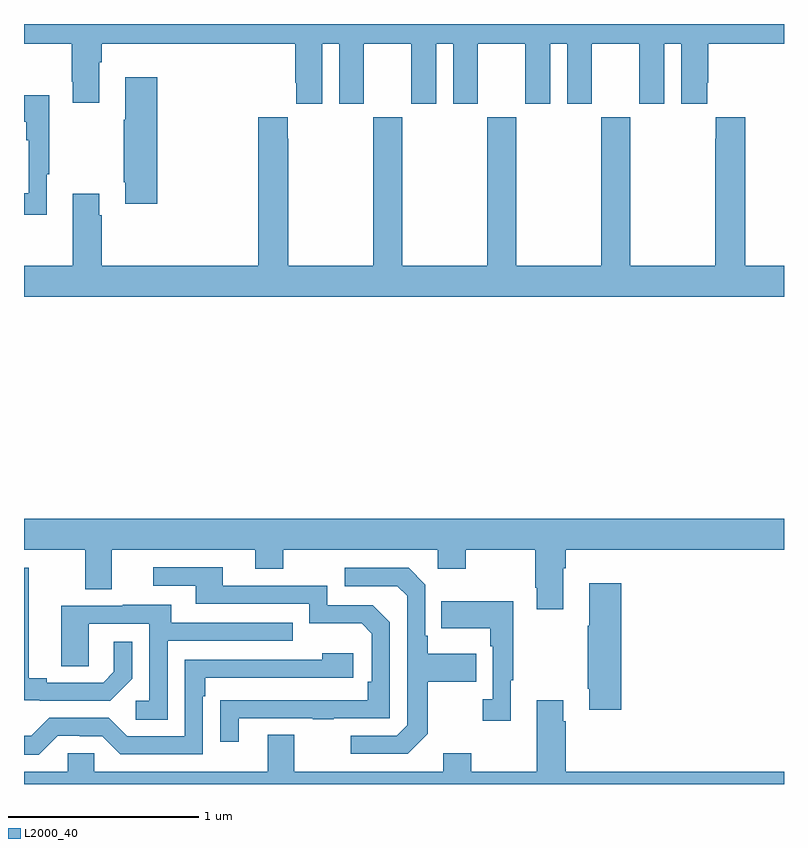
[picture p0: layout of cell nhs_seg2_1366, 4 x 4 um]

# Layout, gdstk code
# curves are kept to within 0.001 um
import gdstk
lib = gdstk.Library(unit=1e-6, precision=1e-09)
def P(c, l, *ps):  # polygons
    for p in ps: c.add(gdstk.Polygon(p, *l))
L2000_40 = (2000, 40)

nhs_seg2_1366 = lib.new_cell('nhs_seg2_1366')
P(nhs_seg2_1366, L2000_40, [(183,587.696),(183.25,587.696),(183.25,587.497),(183.257,587.497),(183.257,587.385),(183.397,587.385),(183.397,587.6),(183.41,587.6),(183.41,587.696),(184.427,587.696),(184.427,587.491),(184.433,587.491),(184.433,587.379),(184.57,587.379),(184.57,587.696),(184.658,587.696),(184.658,587.379),(184.789,587.379),(184.789,587.696),(185.039,587.696),(185.039,587.379),(185.17,587.379),(185.17,587.696),(185.258,587.696),(185.258,587.379),(185.389,587.379),(185.389,587.696),(185.639,587.696),(185.639,587.379),(185.77,587.379),(185.77,587.696),(185.858,587.696),(185.858,587.379),(185.989,587.379),(185.989,587.696),(186.239,587.696),(186.239,587.379),(186.37,587.379),(186.37,587.696),(186.458,587.696),(186.458,587.379),(186.595,587.379),(186.595,587.491),(186.602,587.491),(186.602,587.696),(187,587.696),(187,587.8),(183,587.8)],
  [(183.701,587.521),(183.533,587.521),(183.533,587.297),(183.526,587.297),(183.526,586.966),(183.533,586.966),(183.533,586.854),(183.701,586.854)],
  [(183.121,587.009),(183.133,587.009),(183.133,587.425),(183,587.425),(183,587.285),(183.012,587.285),(183.012,587.189),(183.024,587.189),(183.024,586.91),(183,586.91),(183,586.797),(183.121,586.797)],
  [(187,586.528),(186.797,586.528),(186.797,587.308),(186.641,587.308),(186.641,587.195),(186.637,587.195),(186.637,586.528),(186.192,586.528),(186.192,587.308),(186.037,587.308),(186.037,586.528),(185.592,586.528),(185.592,587.308),(185.437,587.308),(185.437,586.528),(184.992,586.528),(184.992,587.308),(184.837,587.308),(184.837,586.528),(184.392,586.528),(184.392,587.195),(184.387,587.195),(184.387,587.308),(184.232,587.308),(184.232,586.528),(183.41,586.528),(183.41,586.793),(183.397,586.793),(183.397,586.906),(183.257,586.906),(183.257,586.528),(183,586.528),(183,586.364),(187,586.364)],
  [(185.839,584.936),(185.852,584.936),(185.852,585.032),(187,585.032),(187,585.196),(183,585.196),(183,585.032),(183.323,585.032),(183.323,584.824),(183.463,584.824),(183.463,585.032),(184.217,585.032),(184.217,584.933),(184.365,584.933),(184.365,585.032),(185.178,585.032),(185.178,584.933),(185.325,584.933),(185.325,585.032),(185.692,585.032),(185.692,584.833),(185.699,584.833),(185.699,584.721),(185.839,584.721)],
  [(184.129,584.145),(184.519,584.145),(184.519,584.14),(184.631,584.14),(184.631,584.145),(184.926,584.145),(184.926,584.652),(184.836,584.742),(184.596,584.742),(184.596,584.844),(184.045,584.844),(184.045,584.94),(183.681,584.94),(183.681,584.844),(183.905,584.844),(183.905,584.748),(184.5,584.748),(184.5,584.645),(184.777,584.645),(184.83,584.592),(184.83,584.338),(184.81,584.338),(184.81,584.241),(184.033,584.24),(184.033,584.022),(184.129,584.022)],
  [(185.125,584.065),(185.125,584.338),(185.381,584.338),(185.381,584.485),(185.125,584.485),(185.125,584.581),(185.112,584.581),(185.112,584.85),(185.025,584.937),(184.689,584.937),(184.689,584.841),(184.965,584.841),(185.016,584.79),(185.016,584.109),(184.962,584.055),(184.719,584.055),(184.719,583.959),(185.019,583.959)],
  [(183.57,584.354),(183.57,584.548),(183.473,584.548),(183.473,584.391),(183.416,584.334),(183.121,584.334),(183.121,584.357),(183.025,584.357),(183.025,584.937),(183,584.937),(183,584.241),(183.082,584.241),(183.082,584.238),(183.454,584.238)],
  [(186.143,584.857),(185.975,584.857),(185.975,584.633),(185.968,584.633),(185.968,584.302),(185.975,584.302),(185.975,584.19),(186.143,584.19)],
  [(185.563,584.345),(185.575,584.345),(185.575,584.761),(185.197,584.761),(185.197,584.621),(185.454,584.621),(185.454,584.525),(185.466,584.525),(185.466,584.246),(185.415,584.246),(185.415,584.133),(185.563,584.133)],
  [(183.756,584.553),(184.415,584.553),(184.415,584.649),(183.775,584.649),(183.775,584.743),(183.521,584.743),(183.521,584.739),(183.197,584.739),(183.197,584.419),(183.342,584.419),(183.342,584.643),(183.66,584.643),(183.66,584.238),(183.588,584.238),(183.588,584.137),(183.756,584.137)],
  [(183.177,584.055),(183.293,584.055),(183.293,584.052),(183.411,584.052),(183.507,583.956),(183.942,583.956),(183.942,584.261),(183.955,584.261),(183.955,584.358),(184.732,584.358),(184.732,584.488),(184.571,584.488),(184.571,584.454),(183.846,584.454),(183.846,584.052),(183.543,584.052),(183.447,584.148),(183.132,584.148),(183.039,584.055),(183,584.055),(183,583.955),(183.077,583.955)],
  [(187,583.864),(185.852,583.864),(185.852,584.129),(185.839,584.129),(185.839,584.242),(185.699,584.242),(185.699,583.864),(185.355,583.864),(185.355,583.963),(185.207,583.963),(185.207,583.864),(184.423,583.864),(184.423,584.059),(184.283,584.059),(184.283,583.864),(183.369,583.864),(183.369,583.962),(183.231,583.962),(183.231,583.864),(183,583.864),(183,583.8),(187,583.8)])

lib.write_gds('nhs_seg2_1366.gds')
